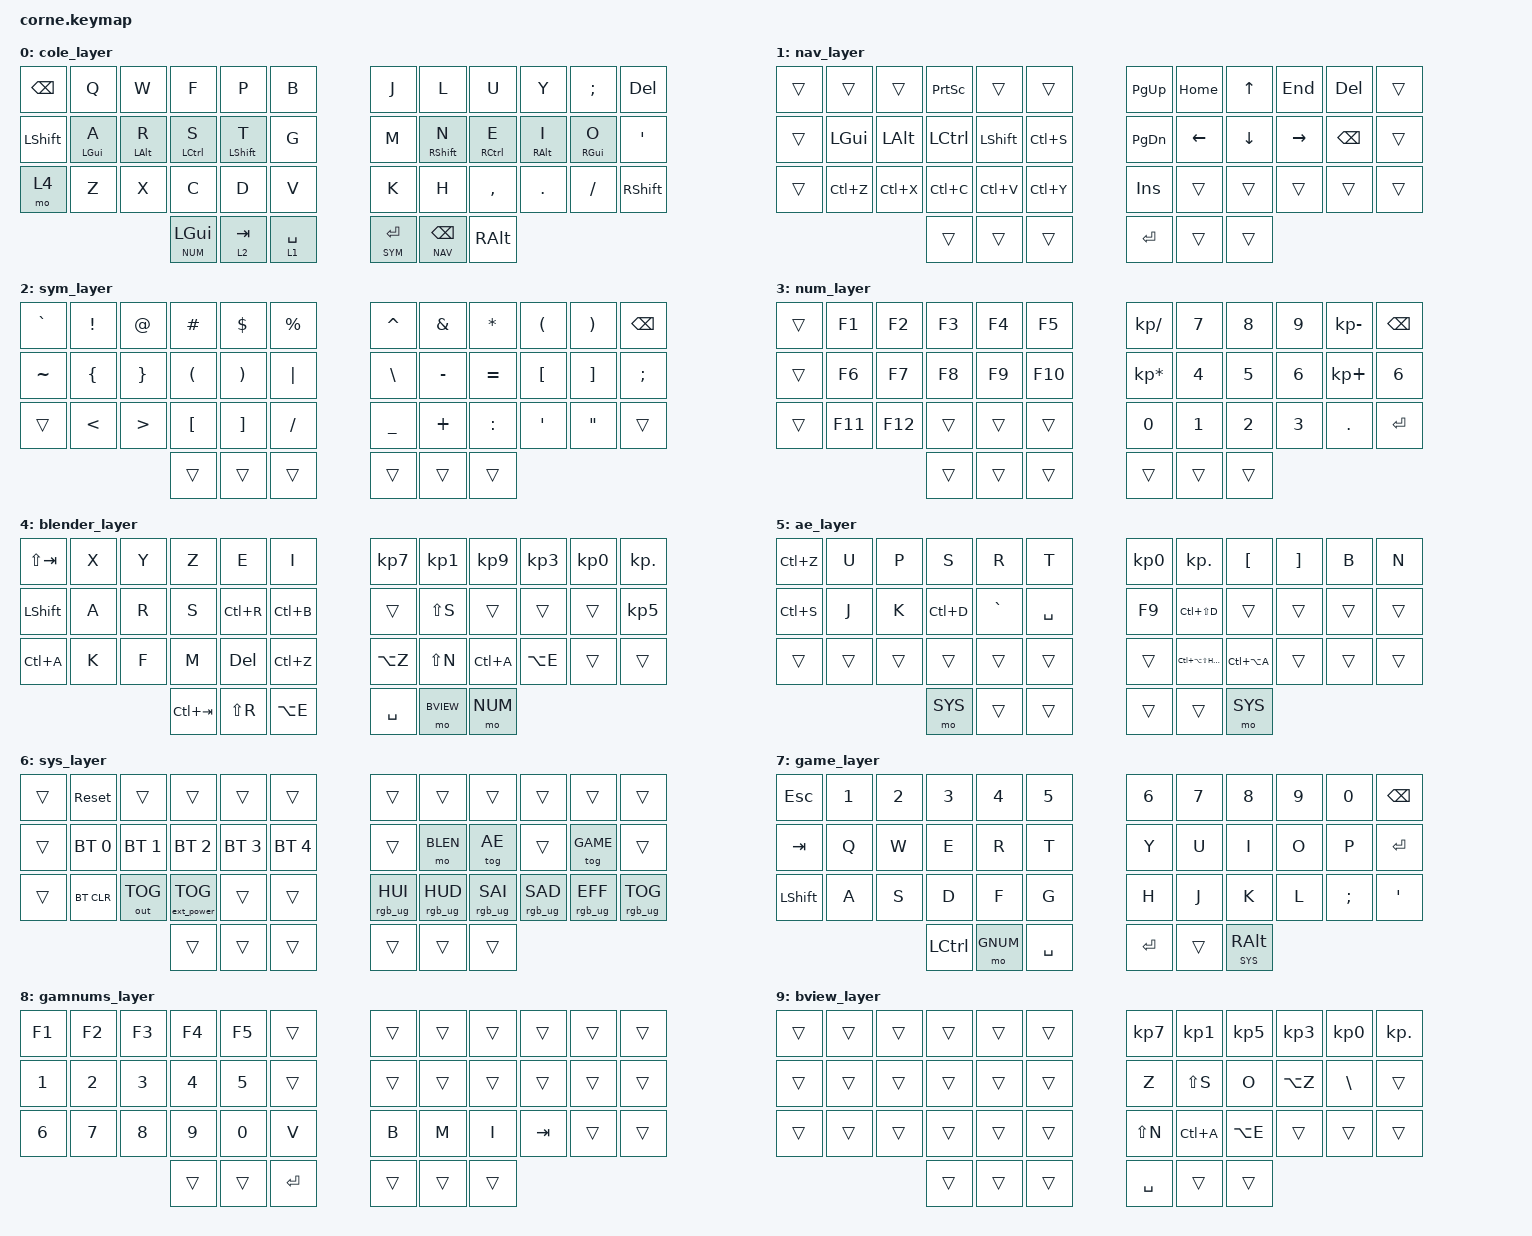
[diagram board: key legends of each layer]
/*
 * Corne v3 MX — ZMK Keymap
 * Layout: Colemak DH + Positional HRM
 *
 * L0  COLE    — Colemak DH + Home Row Mods
 * L1  NAV     — Flechas, Home/End/PgUp/PgDn, atajos edición
 * L2  SYM     — Símbolos programación
 * L3  NUM     — Numpad (der) + F-keys (izq)
 * L4  BLEN    — Blender hard surface (momentáneo con &mo)
 * L5  AE      — Shortcuts After Effects
 * L6  SYS     — BT, RGB, System
 * L7  GAME    — QWERTY gaming sin HRM
 * L8  GNUM    — Números gaming
 * L9  BVIEW   — Vistas Blender + utils (thumb der mid en BLEN)
 *
 * Combos:  W+F → ESC  |  S+T → TAB  |  Shift+Shift → CapsWord  |  Q+P → SYS
 *          G+R → vértices  |  R+S → edges  |  S+E → caras  [solo BLEN]
 * Thumbs COLE: NUM/GUI  TAB/SYM  SPC/NAV  ||  SYM/ENT  NAV/BSPC  RALT
 * Thumbs BLEN: Ct+Tab   Sh+R     Al+E     ||  Space     mo BVIEW  mo NUM
 * BLEN: &mo desde SYS — activo solo mientras se sostiene, COLE al soltar
 */

#include <behaviors.dtsi>
#include <dt-bindings/zmk/bt.h>
#include <dt-bindings/zmk/ext_power.h>
#include <dt-bindings/zmk/keys.h>
#include <dt-bindings/zmk/outputs.h>
#include <dt-bindings/zmk/rgb.h>

/* ── Índices de capas ───────────────────────────────────────── */

#define COLE  0
#define NAV   1
#define SYM   2
#define NUM   3
#define BLEN  4
#define AE    5
#define SYS   6
#define GAME  7
#define GNUM  8
#define BVIEW 9

/*
 * Posiciones de teclas (Corne 6-col, 42 teclas):
 *  ┌─────────────────────────────────┬─────────────────────────────────┐
 *  │  0   1   2   3   4   5          │  6   7   8   9  10  11          │
 *  │ 12  13  14  15  16  17          │ 18  19  20  21  22  23          │
 *  │ 24  25  26  27  28  29          │ 30  31  32  33  34  35          │
 *  │              36  37  38         │ 39  40  41                      │
 *  └─────────────────────────────────┴─────────────────────────────────┘
 */

#define KEYS_L  0  1  2  3  4  5  12 13 14 15 16 17  24 25 26 27 28 29
#define KEYS_R  6  7  8  9 10 11  18 19 20 21 22 23  30 31 32 33 34 35
#define THUMBS 36 37 38 39 40 41

/* ── LED chain-length ───────────────────────────────────────── */
/* 21 per-key (SK6812MINI-E) + 6 underglow (WS2812B) = 27 por lado */

&led_strip { chain-length = <27>; };

/ {
    /* ── Capa condicional: NAV + SYM → SYS ───────────────── */

    conditional_layers {
        compatible = "zmk,conditional-layers";

        tri_sys {
            if-layers = <NAV SYM>;
            then-layer = <SYS>;
        };
    };

    /* ── Combos ───────────────────────────────────────────── */

    combos {
        compatible = "zmk,combos";

        /* W(2) + F(3) → ESC */

        combo_esc {
            timeout-ms = <50>;
            key-positions = <2 3>;
            bindings = <&kp ESC>;
            layers = <COLE>;
        };

        /* S(15) + T(16) → TAB */

        combo_tab {
            timeout-ms = <50>;
            key-positions = <15 16>;
            bindings = <&kp TAB>;
            layers = <COLE>;
        };

        /* LSHFT(24) + RSHFT(35) → Caps Word */

        combo_caps_word {
            timeout-ms = <60>;
            key-positions = <24 35>;
            bindings = <&caps_word>;
            layers = <COLE>;
        };

        /* Q(1) + P(4) → SYS */

        combo_sys {
            timeout-ms = <60>;
            key-positions = <1 4>;
            bindings = <&mo SYS>;
            layers = <COLE>;
        };

        /* Salir de GAME */

        combo_exit_game {
            timeout-ms = <60>;
            key-positions = <24 35>;
            bindings = <&tog GAME>;
            layers = <GAME>;
        };

        /* Enter */

        enter {
            bindings = <&kp ENTER>;
            key-positions = <15 14>;
            layers = <0 4>;
        };

        /* G(2) + R(3) → vértices — solo BLEN */

        combo_blen_vert {
            timeout-ms = <50>;
            key-positions = <2 3>;
            bindings = <&kp N1>;
            layers = <BLEN>;
        };

        /* R(3) + S(4) → edges — solo BLEN */

        combo_blen_edge {
            timeout-ms = <50>;
            key-positions = <3 4>;
            bindings = <&kp N2>;
            layers = <BLEN>;
        };

        /* S(4) + E(5) → caras — solo BLEN */

        combo_blen_face {
            timeout-ms = <50>;
            key-positions = <4 5>;
            bindings = <&kp N3>;
            layers = <BLEN>;
        };
    };

    /* ── Comportamientos ──────────────────────────────────── */

    behaviors {
        tab_bspc: tab_bspc {
            compatible = "zmk,behavior-hold-tap";
            #binding-cells = <2>;
            flavor = "tap-preferred";
            tapping-term-ms = <200>;
            quick-tap-ms = <200>;
            bindings = <&kp>, <&kp>;
        };

        hml: hml {
            compatible = "zmk,behavior-hold-tap";
            #binding-cells = <2>;
            flavor = "balanced";
            tapping-term-ms = <280>;
            quick-tap-ms = <175>;
            require-prior-idle-ms = <150>;
            bindings = <&kp>, <&kp>;

            hold-trigger-key-positions = <KEYS_R THUMBS>;
            hold-trigger-on-release;
        };

        hmr: hmr {
            compatible = "zmk,behavior-hold-tap";
            #binding-cells = <2>;
            flavor = "balanced";
            tapping-term-ms = <280>;
            quick-tap-ms = <175>;
            require-prior-idle-ms = <150>;
            bindings = <&kp>, <&kp>;

            hold-trigger-key-positions = <KEYS_L THUMBS>;
            hold-trigger-on-release;
        };

        lt_spc: lt_spc {
            compatible = "zmk,behavior-hold-tap";
            label = "LT_SPC";
            bindings = <&mo>, <&kp>;

            #binding-cells = <2>;
            tapping-term-ms = <200>;
            quick-tap-ms = <200>;
            flavor = "balanced";
        };
    };

    keymap {
        compatible = "zmk,keymap";

        /* ═══════════════════════════════════════════════════
         * L0 — COLE   Colemak DH + positional HRM
         *
         * T/B   Q    W    F    P    B  │  J    L    U    Y   SEMI  DEL
         * SHFT A⌘   R⌥   S⌃   T⇧   G  │  M   N⇧   E⌃   I⌥  O⌘   SQT
         * ESC   Z    X    C    D    V  │  K    H    ,    .    /   RSHFT
         *         NUM/⌘  TAB/SYM  SPC/NAV  ||  SYM/ENT  NAV/BSPC  RALT
         * ═══════════════════════════════════════════════════ */

        cole_layer {
            bindings = <
&kp BSPC        &kp Q        &kp W        &kp F         &kp P         &kp B              &kp J        &kp L              &kp U         &kp Y        &kp SEMI     &kp DELETE
&kp LEFT_SHIFT  &hml LGUI A  &hml LALT R  &hml LCTRL S  &hml LSHFT T  &kp G              &kp M        &hmr RSHFT N       &hmr RCTRL E  &hmr RALT I  &hmr RGUI O  &kp SQT
&mo 4           &kp Z        &kp X        &kp C         &kp D         &kp V              &kp K        &kp H              &kp COMMA     &kp DOT      &kp FSLH     &kp RSHFT
                                          &lt NUM LGUI  &lt 2 TAB     &lt_spc 1 SPACE    &lt SYM RET  &lt NAV BACKSPACE  &kp RALT
            >;
        };

        /* ═══════════════════════════════════════════════════
         * L1 — NAV
         *
         * ___  ___  ___  PrtSc ___  ___  │ PGUP HOME  ↑   END  DEL  ___
         * ___  GUI  ALT  CTRL SHFT  C-S  │ PGDN  ←    ↓    →  BSPC ___
         * ___  C-Z  C-X  C-C  C-V  C-Y  │  INS  ___  ___  ___  ___  ___
         *            ___  ___  ___       │  ENT [NAV]  ___
         * ═══════════════════════════════════════════════════ */

        nav_layer {
            bindings = <
&trans  &trans     &trans     &kp PRINTSCREEN  &trans     &trans       &kp PG_UP  &kp HOME  &kp UP    &kp END    &kp DEL   &trans
&trans  &kp LGUI   &kp LALT   &kp LCTRL        &kp LSHFT  &kp LC(S)    &kp PG_DN  &kp LEFT  &kp DOWN  &kp RIGHT  &kp BSPC  &trans
&trans  &kp LC(Z)  &kp LC(X)  &kp LC(C)        &kp LC(V)  &kp LC(Y)    &kp INS    &trans    &trans    &trans     &trans    &trans
                              &trans           &trans     &trans       &kp RET    &trans    &trans
            >;
        };

        /* ═══════════════════════════════════════════════════
         * L2 — SYM
         * ═══════════════════════════════════════════════════ */

        sym_layer {
            bindings = <
&kp GRAVE  &kp EXCL  &kp AT    &kp HASH  &kp DLLR  &kp PRCNT    &kp CARET  &kp AMPS   &kp ASTRK  &kp LPAR  &kp RPAR  &kp BSPC
&kp TILDE  &kp LBRC  &kp RBRC  &kp LPAR  &kp RPAR  &kp PIPE     &kp BSLH   &kp MINUS  &kp EQUAL  &kp LBKT  &kp RBKT  &kp SEMI
&trans     &kp LT    &kp GT    &kp LBKT  &kp RBKT  &kp FSLH     &kp UNDER  &kp PLUS   &kp COLON  &kp SQT   &kp DQT   &trans
                               &trans    &trans    &trans       &trans     &trans     &trans
            >;
        };

        /* ═══════════════════════════════════════════════════
         * L3 — NUM
         * ═══════════════════════════════════════════════════ */

        num_layer {
            bindings = <
&trans  &kp F1   &kp F2   &kp F3  &kp F4  &kp F5     &kp KP_DIVIDE    &kp N7  &kp N8  &kp N9  &kp KP_SUBTRACT  &kp BSPC
&trans  &kp F6   &kp F7   &kp F8  &kp F9  &kp F10    &kp KP_MULTIPLY  &kp N4  &kp N5  &kp N6  &kp KP_PLUS      &kp N6
&trans  &kp F11  &kp F12  &trans  &trans  &trans     &kp N0           &kp N1  &kp N2  &kp N3  &kp DOT          &kp RET
                          &trans  &trans  &trans     &trans           &trans  &trans
            >;
        };

        /* ═══════════════════════════════════════════════════
         * L4 — BLEN   Hard Surface Modeling
         * Activo solo mientras se sostiene la tecla en SYS
         * Al soltar → vuelve automáticamente a COLE
         *
         * Fila sup izq: X(borrar) Y(eje) Z(eje) G(grab) E(extrude) I(inset)
         * Home row izq: SHFT  A(selAll) R(rot) S(scale) Ct+R(loop) Ct+B(bevel)
         * Fila inf izq: Ct+A(apply) K(knife) F(fill) M(merge) X→del Ct+Z(undo)
         * Thumbs izq:   Ct+Tab(modos) Sh+R(repetir) Al+E(extrude opts)
         * Thumbs der:   Space(search) mo BVIEW(vistas) mo NUM(numpad)
         * Combos:       G+R=verts | R+S=edges | S+E=faces
         * ═══════════════════════════════════════════════════ */

        blender_layer {
            bindings = <
&kp LS(TAB)  &kp X  &kp Y  &kp Z        &kp E      &kp I        &kp KP_N7  &kp KP_N1  &kp KP_N9  &kp KP_N3  &kp KP_N0  &kp KP_DOT
&kp LSHFT    &kp A  &kp R  &kp S        &kp LC(R)  &kp LC(B)    &trans     &kp LS(S)  &trans     &trans     &trans     &kp KP_N5
&kp LC(A)    &kp K  &kp F  &kp M        &kp DEL    &kp LC(Z)    &kp LA(Z)  &kp LS(N)  &kp LC(A)  &kp LA(E)  &trans     &trans
                           &kp LC(TAB)  &kp LS(R)  &kp LA(E)    &kp SPACE  &mo BVIEW  &mo NUM
            >;
        };

        /* ═══════════════════════════════════════════════════
         * L5 — AE   After Effects
         * ═══════════════════════════════════════════════════ */

        ae_layer {
            bindings = <
&kp LC(Z)  &kp U   &kp P   &kp S      &kp R      &kp T        &kp KP_N0  &kp KP_DOT            &kp LBKT       &kp RBKT  &kp B   &kp N
&kp LC(S)  &kp J   &kp K   &kp LC(D)  &kp GRAVE  &kp SPACE    &kp F9     &kp LC(LS(D))         &trans         &trans    &trans  &trans
&trans     &trans  &trans  &trans     &trans     &trans       &trans     &kp LC(LA(LS(HOME)))  &kp LC(LA(A))  &trans    &trans  &trans
                           &mo SYS    &trans     &trans       &trans     &trans                &mo SYS
            >;
        };

        /* ═══════════════════════════════════════════════════
         * L6 — SYS
         * BLEN cambiado a &mo — activo solo mientras se sostiene
         * ═══════════════════════════════════════════════════ */

        sys_layer {
            bindings = <
&trans  &sys_reset    &trans        &trans             &trans        &trans          &trans           &trans           &trans           &trans           &trans           &trans
&trans  &bt BT_SEL 0  &bt BT_SEL 1  &bt BT_SEL 2       &bt BT_SEL 3  &bt BT_SEL 4    &trans           &mo BLEN         &tog AE          &trans           &tog GAME        &trans
&trans  &bt BT_CLR    &out OUT_TOG  &ext_power EP_TOG  &trans        &trans          &rgb_ug RGB_HUI  &rgb_ug RGB_HUD  &rgb_ug RGB_SAI  &rgb_ug RGB_SAD  &rgb_ug RGB_EFF  &rgb_ug RGB_TOG
                                    &trans             &trans        &trans          &trans           &trans           &trans
            >;
        };

        /* ═══════════════════════════════════════════════════
         * L7 — GAME
         * ═══════════════════════════════════════════════════ */

        game_layer {
            bindings = <
&kp ESC    &kp N1  &kp N2  &kp N3     &kp N4    &kp N5       &kp N6   &kp N7  &kp N8        &kp N9  &kp N0    &kp BSPC
&kp TAB    &kp Q   &kp W   &kp E      &kp R     &kp T        &kp Y    &kp U   &kp I         &kp O   &kp P     &kp RET
&kp LSHFT  &kp A   &kp S   &kp D      &kp F     &kp G        &kp H    &kp J   &kp K         &kp L   &kp SEMI  &kp SQT
                           &kp LCTRL  &mo GNUM  &kp SPACE    &kp RET  &trans  &lt SYS RALT
            >;
        };

        /* ═══════════════════════════════════════════════════
         * L8 — GNUM
         * ═══════════════════════════════════════════════════ */

        gamnums_layer {
            bindings = <
&kp F1  &kp F2  &kp F3  &kp F4  &kp F5  &trans     &trans  &trans  &trans  &trans   &trans  &trans
&kp N1  &kp N2  &kp N3  &kp N4  &kp N5  &trans     &trans  &trans  &trans  &trans   &trans  &trans
&kp N6  &kp N7  &kp N8  &kp N9  &kp N0  &kp V      &kp B   &kp M   &kp I   &kp TAB  &trans  &trans
                        &trans  &trans  &kp RET    &trans  &trans  &trans
            >;
        };

        /* ═══════════════════════════════════════════════════
         * L9 — BVIEW   Vistas Blender + utils viewport
         * Activo solo mientras se sostiene thumb der mid en BLEN
         *
         * Der fila sup: NP7(top) NP1(front) NP5(persp) NP3(side) NP0(cam) NP.(focus)
         * Der fila med: Z(shading pie) Sh+S(snap cursor) O(proportional) Alt+Z(xray) \ /
         * Der fila inf: Sh+N(normales) Ct+A(apply scale) Al+E(extrude opts)
         * ═══════════════════════════════════════════════════ */

        bview_layer {
            bindings = <
&trans  &trans  &trans  &trans  &trans  &trans    &kp KP_N7  &kp KP_N1  &kp KP_N5  &kp KP_N3  &kp KP_N0  &kp KP_DOT
&trans  &trans  &trans  &trans  &trans  &trans    &kp Z      &kp LS(S)  &kp O      &kp LA(Z)  &kp BSLH   &trans
&trans  &trans  &trans  &trans  &trans  &trans    &kp LS(N)  &kp LC(A)  &kp LA(E)  &trans     &trans     &trans
                        &trans  &trans  &trans    &kp SPACE  &trans     &trans
            >;
        };
    };
};
